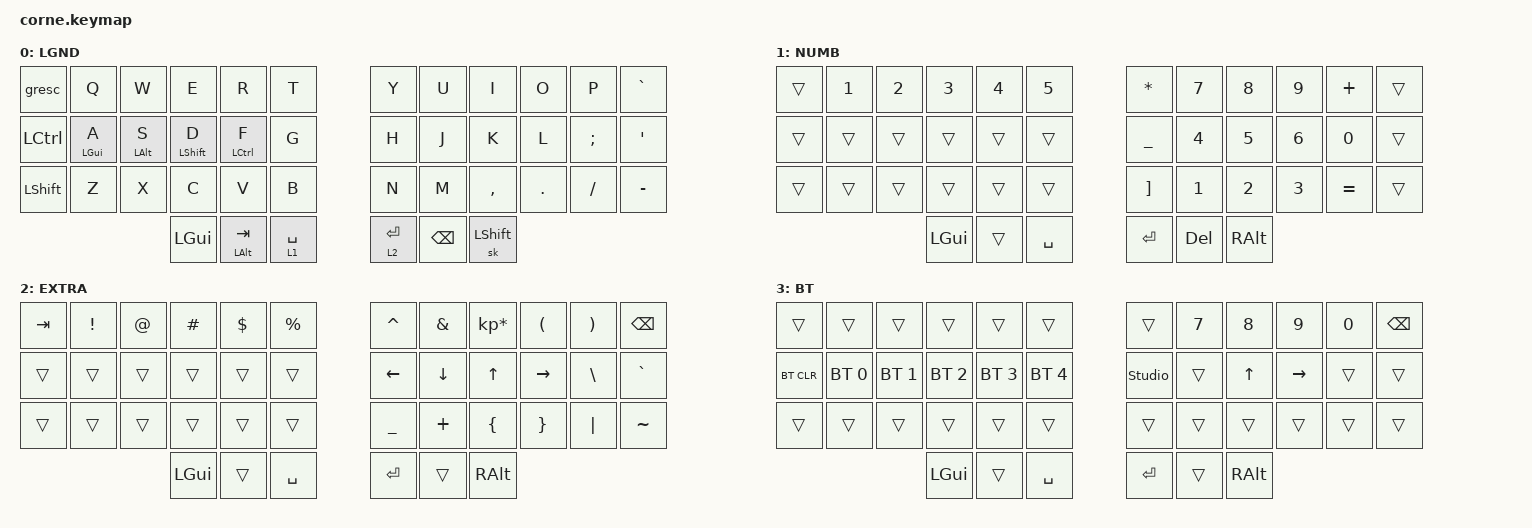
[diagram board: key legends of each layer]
#include <behaviors.dtsi>
#include <dt-bindings/zmk/bt.h>
#include <dt-bindings/zmk/keys.h>

/ {
    combos {
        compatible = "zmk,combos";

        Caps_word {
            bindings = <&caps_word>;
            key-positions = <17 18>;
        };

        left_bracket {
            bindings = <&kp LEFT_BRACKET>;
            key-positions = <28 27>;
        };

        right_bracket {
            bindings = <&kp RIGHT_BRACKET>;
            key-positions = <32 31>;
        };

        left_parenth {
            bindings = <&kp LEFT_PARENTHESIS>;
            key-positions = <16 15>;
        };

        right_parenth {
            bindings = <&kp RIGHT_PARENTHESIS>;
            key-positions = <19 20>;
        };

        left_brace {
            bindings = <&kp LEFT_BRACE>;
            key-positions = <3 4>;
        };

        right_brace {
            bindings = <&kp RIGHT_BRACE>;
            key-positions = <7 8>;
        };
    };

    behaviors {
        j_j_gresc_behavior: j_j_gresc_behavior {
            compatible = "zmk,behavior-tap-dance";
            label = "J_J_GRESC_BEHAVIOR";
            #binding-cells = <0>;
            bindings = <&kp J>, <&gresc>;

            tapping-term-ms = <50>;
        };

        hml: hml {
            compatible = "zmk,behavior-hold-tap";
            label = "HML";
            bindings = <&kp>, <&kp>;

            #binding-cells = <2>;
            flavor = "balanced";
            hold-trigger-key-positions = <16 15 14 13>;
            quick-tap-ms = <175>;
            require-prior-idle-ms = <150>;
            tapping-term-ms = <280>;
            hold-trigger-on-release;
        };

        hmr: hmr {
            compatible = "zmk,behavior-hold-tap";
            label = "HMR";
            bindings = <&kp>, <&kp>;

            #binding-cells = <2>;
            flavor = "balanced";
            quick-tap-ms = <175>;
            require-prior-idle-ms = <150>;
            tapping-term-ms = <280>;
            hold-trigger-on-release;
            hold-trigger-key-positions = <19 20 21 22>;
        };
    };

    keymap {
        compatible = "zmk,keymap";

        default_layer {
            // -----------------------------------------------------------------------------------------
            // |  TAB |  Q  |  W  |  E  |  R  |  T  |   |  Y  |  U   |  I  |  O  |  P  | BKSP |
            // | CTRL |  A  |  S  |  D  |  F  |  G  |   |  H  |  J   |  K  |  L  |  ;  |  '   |
            // | SHFT |  Z  |  X  |  C  |  V  |  B  |   |  N  |  M   |  ,  |  .  |  /  | ESC  |
            //                    | GUI | LWR | SPC |   | ENT | RSE  | ALT |

            display-name = "LGND";
            bindings = <
&gresc            &kp Q            &kp W            &kp E              &kp R                &kp T          &kp Y        &kp U          &kp I           &kp O    &kp P     &kp GRAVE
&kp LEFT_CONTROL  &hml LEFT_GUI A  &hml LEFT_ALT S  &hml LEFT_SHIFT D  &hml LEFT_CONTROL F  &kp G          &kp H        &kp J          &kp K           &kp L    &kp SEMI  &kp SQT
&kp LEFT_SHIFT    &kp Z            &kp X            &kp C              &kp V                &kp B          &kp N        &kp M          &kp COMMA       &kp DOT  &kp FSLH  &kp MINUS
                                                    &kp LGUI           &mt LEFT_ALT TAB     &lt 1 SPACE    &lt 2 ENTER  &kp BACKSPACE  &sk LEFT_SHIFT
            >;
        };

        lower_layer {
            // -----------------------------------------------------------------------------------------
            // |  TAB |  1  |  2  |  3  |  4  |  5  |   |  6  |  7  |  8  |  9  |  0  | BKSP |
            // | BTCLR| BT1 | BT2 | BT3 | BT4 | BT5 |   | LFT | DWN |  UP | RGT |     |      |
            // | SHFT |     |     |     |     |     |   |     |     |     |     |     |      |
            //                    | GUI |     | SPC |   | ENT |     | ALT |

            display-name = "NUMB";
            bindings = <
&trans  &kp N1  &kp N2  &kp N3    &kp N4  &kp N5       &kp ASTERISK       &kp N7        &kp N8        &kp N9        &kp PLUS   &trans
&trans  &trans  &trans  &trans    &trans  &trans       &kp UNDER          &kp NUMBER_4  &kp N5        &kp NUMBER_6  &kp N0     &trans
&trans  &trans  &trans  &trans    &trans  &trans       &kp RIGHT_BRACKET  &kp NUMBER_1  &kp NUMBER_2  &kp NUMBER_3  &kp EQUAL  &trans
                        &kp LGUI  &trans  &kp SPACE    &kp RET            &kp DEL       &kp RALT
            >;
        };

        raise_layer {
            // -----------------------------------------------------------------------------------------
            // |  TAB |  !  |  @  |  #  |  $  |  %  |   |  ^  |  &  |  *  |  (  |  )  | BKSP |
            // | CTRL |     |     |     |     |     |   |  -  |  =  |  [  |  ]  |  \  |  `   |
            // | SHFT |     |     |     |     |     |   |  _  |  +  |  {  |  }  | "|" |  ~   |
            //                    | GUI |     | SPC |   | ENT |     | ALT |

            display-name = "EXTRA";
            bindings = <
&kp TAB  &kp EXCL  &kp AT  &kp HASH  &kp DLLR  &kp PRCNT    &kp CARET  &kp AMPS  &kp KP_MULTIPLY  &kp LPAR   &kp RPAR  &kp BSPC
&trans   &trans    &trans  &trans    &trans    &trans       &kp LEFT   &kp DOWN  &kp UP_ARROW     &kp RIGHT  &kp BSLH  &kp GRAVE
&trans   &trans    &trans  &trans    &trans    &trans       &kp UNDER  &kp PLUS  &kp LBRC         &kp RBRC   &kp PIPE  &kp TILDE
                           &kp LGUI  &trans    &kp SPACE    &kp RET    &trans    &kp RALT
            >;
        };

        hidden_1 {
            display-name = "BT";
            bindings = <
&trans      &trans        &trans        &trans        &trans        &trans          &trans          &kp N7  &kp N8    &kp N9     &kp N0  &kp BSPC
&bt BT_CLR  &bt BT_SEL 0  &bt BT_SEL 1  &bt BT_SEL 2  &bt BT_SEL 3  &bt BT_SEL 4    &studio_unlock  &trans  &kp UP    &kp RIGHT  &trans  &trans
&trans      &trans        &trans        &trans        &trans        &trans          &trans          &trans  &trans    &trans     &trans  &trans
                                        &kp LGUI      &trans        &kp SPACE       &kp RET         &trans  &kp RALT
            >;
        };
    };

    conditional_layers {
        compatible = "zmk,conditional-layers";

        hidden_layer {
            if-layers = <1 2>;
            then-layer = <3>;
        };
    };
};
